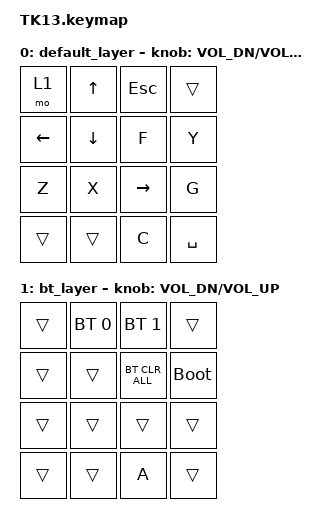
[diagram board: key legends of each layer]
/*
 * Copyright (c) 2020 The ZMK Contributors
 *
 * SPDX-License-Identifier: MIT
 */

#include <behaviors.dtsi>
#include <dt-bindings/zmk/keys.h>
#include <dt-bindings/zmk/bt.h>

/ {
    keymap {
        compatible = "zmk,keymap";

        default_layer {
            bindings = <
&mo 1      &kp UP    &kp ESC    &trans   
&kp LEFT   &kp DOWN  &kp F      &kp Y    
&kp Z      &kp X     &kp RIGHT  &kp G  
&trans     &trans    &kp C      &kp SPACE   
            >;
             sensor-bindings = <&inc_dec_kp C_VOL_DN C_VOL_UP>;
        };

        bt_layer {
            bindings = <
&trans   &bt BT_SEL 0    &bt BT_SEL 1     &trans
&trans   &trans          &bt BT_CLR_ALL   &bootloader        
&trans   &trans          &trans           &trans          
&trans   &trans          &kp A            &trans   
            >;
            sensor-bindings = <&inc_dec_kp C_VOL_DN C_VOL_UP>;
        };
    };
};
